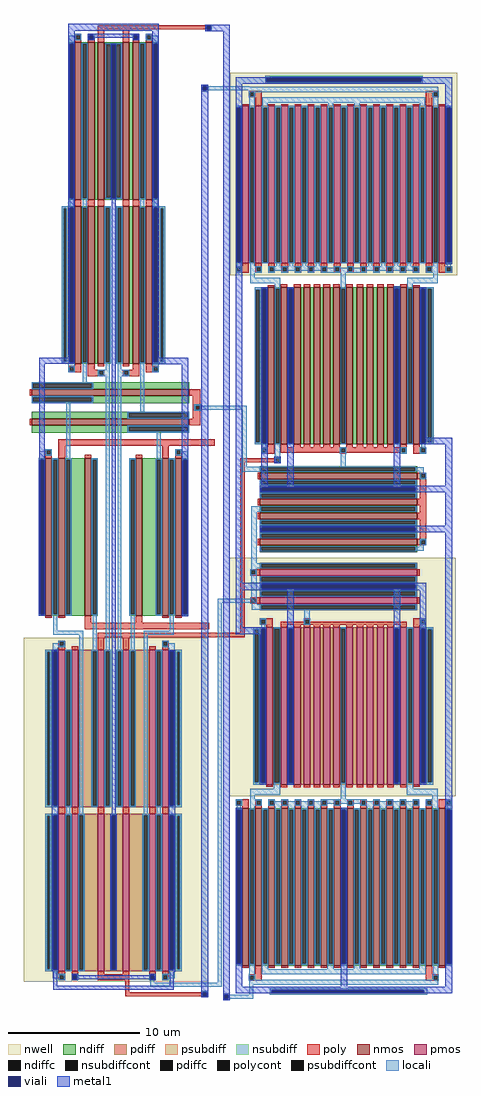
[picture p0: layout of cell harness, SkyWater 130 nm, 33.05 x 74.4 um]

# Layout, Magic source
magic
tech sky130A
<< nwell >>
rect 1745 5485 3105 7030
<< poly >>
rect 1310 7385 1360 7395
rect 1310 7355 1320 7385
rect 1350 7355 1360 7385
rect 1310 7345 1360 7355
rect 1280 6925 1330 6935
rect 1280 6895 1290 6925
rect 1320 6895 1330 6925
rect 1280 6885 1330 6895
rect 1225 4490 1275 4500
rect 1225 4460 1235 4490
rect 1265 4460 1275 4490
rect 1225 4450 1275 4460
rect 1835 4090 1885 4100
rect 1575 4060 1845 4090
rect 1875 4060 1885 4090
rect 1575 2760 1610 4060
rect 1835 4050 1885 4060
rect 490 2725 1610 2760
rect 490 2655 540 2725
rect 680 2655 730 2725
rect 1280 20 1330 30
rect 1160 -10 1290 20
rect 1320 -10 1330 20
rect 1280 -20 1330 -10
rect 1445 0 1495 10
rect 1445 -30 1455 0
rect 1485 -30 1495 0
rect 1445 -40 1495 -30
<< polycont >>
rect 1320 7355 1350 7385
rect 1290 6895 1320 6925
rect 1235 4460 1265 4490
rect 1845 4060 1875 4090
rect 1290 -10 1320 20
rect 1455 -30 1485 0
<< locali >>
rect 1310 7385 1360 7395
rect 1310 7355 1320 7385
rect 1350 7355 1360 7385
rect 1310 7345 1360 7355
rect 1765 6980 1795 7005
rect 1280 6925 1330 6935
rect 1280 6895 1290 6925
rect 1320 6915 1645 6925
rect 1320 6895 1650 6915
rect 1280 6885 1330 6895
rect 1640 6890 1650 6895
rect 1225 4490 1275 4500
rect 1225 4460 1235 4490
rect 1265 4460 1625 4490
rect 1225 4450 1275 4460
rect 1590 4025 1625 4460
rect 1840 4100 1880 4205
rect 1835 4090 1885 4100
rect 1835 4060 1845 4090
rect 1875 4060 1885 4090
rect 1835 4050 1885 4060
rect 1590 3985 1735 4025
rect 1405 2990 1690 3020
rect 1405 90 1435 2990
rect 1665 1525 1670 1570
rect 1155 60 1435 90
rect 1280 20 1330 30
rect 1280 -10 1290 20
rect 1320 -10 1330 20
rect 1280 -20 1330 -10
rect 1445 0 1495 10
rect 1645 0 1675 105
rect 1800 5 1835 10
rect 1445 -30 1455 0
rect 1485 -30 1675 0
rect 1445 -40 1495 -30
<< viali >>
rect 1320 7355 1350 7385
rect 1290 6895 1320 6925
rect 1290 -10 1320 20
rect 1455 -30 1485 0
<< metal1 >>
rect 1310 7385 1495 7395
rect 1310 7355 1320 7385
rect 1350 7355 1495 7385
rect 1310 7345 1495 7355
rect 1280 6925 1330 6935
rect 1280 6895 1290 6925
rect 1320 6895 1330 6925
rect 1280 20 1330 6895
rect 1280 -10 1290 20
rect 1320 -10 1330 20
rect 1280 -20 1330 -10
rect 1445 0 1495 7345
rect 1835 4050 1885 4100
rect 1445 -30 1455 0
rect 1485 -30 1495 0
rect 1445 -40 1495 -30
use bias_generator  bias_generator_0
transform 1 0 4755 0 1 -45
box -3265 45 -1525 7075
use diffamp  diffamp_0
transform 1 0 700 0 -1 1340
box -775 -6060 680 1350
<< end >>

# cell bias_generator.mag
magic
tech sky130A
<< nwell >>
rect -3255 5530 -1525 7075
rect -3265 1560 -1535 3375
<< nmos >>
rect -2970 4240 -2920 5440
rect -2870 4240 -2820 5440
rect -2770 4240 -2720 5440
rect -2695 4240 -2645 5440
rect -2620 4240 -2570 5440
rect -2545 4240 -2495 5440
rect -2470 4240 -2420 5440
rect -2370 4240 -2320 5440
rect -2290 4240 -2240 5440
rect -2215 4240 -2165 5440
rect -2135 4240 -2085 5440
rect -2060 4240 -2010 5440
rect -1960 4240 -1910 5440
rect -1860 4240 -1810 5440
rect -3030 3975 -1830 4025
rect -3030 3775 -1830 3825
rect -3030 3670 -1830 3720
rect -3030 3470 -1830 3520
rect -3165 265 -3115 1465
rect -3065 265 -3015 1465
rect -2965 265 -2915 1465
rect -2865 265 -2815 1465
rect -2765 265 -2715 1465
rect -2665 265 -2615 1465
rect -2565 265 -2515 1465
rect -2465 265 -2415 1465
rect -2365 265 -2315 1465
rect -2265 265 -2215 1465
rect -2165 265 -2115 1465
rect -2065 265 -2015 1465
rect -1965 265 -1915 1465
rect -1865 265 -1815 1465
rect -1765 265 -1715 1465
rect -1665 265 -1615 1465
<< pmos >>
rect -3165 5620 -3115 6820
rect -3065 5620 -3015 6820
rect -2965 5620 -2915 6820
rect -2865 5620 -2815 6820
rect -2765 5620 -2715 6820
rect -2665 5620 -2615 6820
rect -2565 5620 -2515 6820
rect -2465 5620 -2415 6820
rect -2365 5620 -2315 6820
rect -2265 5620 -2215 6820
rect -2165 5620 -2115 6820
rect -2065 5620 -2015 6820
rect -1965 5620 -1915 6820
rect -1865 5620 -1815 6820
rect -1765 5620 -1715 6820
rect -1665 5620 -1615 6820
rect -3030 3240 -1830 3290
rect -3030 3025 -1830 3075
rect -2980 1645 -2930 2845
rect -2870 1645 -2820 2845
rect -2770 1645 -2720 2845
rect -2695 1645 -2645 2845
rect -2620 1645 -2570 2845
rect -2545 1645 -2495 2845
rect -2470 1645 -2420 2845
rect -2370 1645 -2320 2845
rect -2290 1645 -2240 2845
rect -2215 1645 -2165 2845
rect -2135 1645 -2085 2845
rect -2060 1645 -2010 2845
rect -1960 1645 -1910 2845
rect -1860 1645 -1810 2845
<< ndiff >>
rect -3020 5425 -2970 5440
rect -3020 4250 -3010 5425
rect -2980 4250 -2970 5425
rect -3020 4240 -2970 4250
rect -2920 5425 -2870 5440
rect -2920 4250 -2910 5425
rect -2880 4250 -2870 5425
rect -2920 4240 -2870 4250
rect -2820 5425 -2770 5440
rect -2820 4250 -2810 5425
rect -2780 4250 -2770 5425
rect -2820 4240 -2770 4250
rect -2720 4240 -2695 5440
rect -2645 4240 -2620 5440
rect -2570 4240 -2545 5440
rect -2495 4240 -2470 5440
rect -2420 5425 -2370 5440
rect -2420 4250 -2410 5425
rect -2380 4250 -2370 5425
rect -2420 4240 -2370 4250
rect -2320 4240 -2290 5440
rect -2240 4240 -2215 5440
rect -2165 4240 -2135 5440
rect -2085 4240 -2060 5440
rect -2010 5425 -1960 5440
rect -2010 4250 -2000 5425
rect -1970 4250 -1960 5425
rect -2010 4240 -1960 4250
rect -1910 5425 -1860 5440
rect -1910 4250 -1900 5425
rect -1870 4250 -1860 5425
rect -1910 4240 -1860 4250
rect -1810 5425 -1760 5440
rect -1810 4250 -1800 5425
rect -1770 4250 -1760 5425
rect -1810 4240 -1760 4250
rect -3030 4065 -1830 4075
rect -3030 4035 -3020 4065
rect -1845 4035 -1830 4065
rect -3030 4025 -1830 4035
rect -3030 3965 -1830 3975
rect -3030 3935 -3020 3965
rect -1845 3935 -1830 3965
rect -3030 3925 -1830 3935
rect -3030 3865 -1830 3875
rect -3030 3835 -3020 3865
rect -1845 3835 -1830 3865
rect -3030 3825 -1830 3835
rect -3030 3765 -1830 3775
rect -3030 3730 -3020 3765
rect -1845 3730 -1830 3765
rect -3030 3720 -1830 3730
rect -3030 3660 -1830 3670
rect -3030 3630 -3020 3660
rect -1845 3630 -1830 3660
rect -3030 3620 -1830 3630
rect -3030 3560 -1830 3570
rect -3030 3530 -3020 3560
rect -1845 3530 -1830 3560
rect -3030 3520 -1830 3530
rect -3030 3460 -1830 3470
rect -3030 3430 -3020 3460
rect -1845 3430 -1830 3460
rect -3030 3420 -1830 3430
rect -3215 1455 -3165 1465
rect -3215 280 -3205 1455
rect -3175 280 -3165 1455
rect -3215 265 -3165 280
rect -3115 1455 -3065 1465
rect -3115 280 -3105 1455
rect -3075 280 -3065 1455
rect -3115 265 -3065 280
rect -3015 1455 -2965 1465
rect -3015 280 -3005 1455
rect -2975 280 -2965 1455
rect -3015 265 -2965 280
rect -2915 1455 -2865 1465
rect -2915 280 -2905 1455
rect -2875 280 -2865 1455
rect -2915 265 -2865 280
rect -2815 1455 -2765 1465
rect -2815 280 -2805 1455
rect -2775 280 -2765 1455
rect -2815 265 -2765 280
rect -2715 1455 -2665 1465
rect -2715 280 -2705 1455
rect -2675 280 -2665 1455
rect -2715 265 -2665 280
rect -2615 1455 -2565 1465
rect -2615 280 -2605 1455
rect -2575 280 -2565 1455
rect -2615 265 -2565 280
rect -2515 1455 -2465 1465
rect -2515 280 -2505 1455
rect -2475 280 -2465 1455
rect -2515 265 -2465 280
rect -2415 1455 -2365 1465
rect -2415 280 -2405 1455
rect -2375 280 -2365 1455
rect -2415 265 -2365 280
rect -2315 1455 -2265 1465
rect -2315 280 -2305 1455
rect -2275 280 -2265 1455
rect -2315 265 -2265 280
rect -2215 1455 -2165 1465
rect -2215 280 -2205 1455
rect -2175 280 -2165 1455
rect -2215 265 -2165 280
rect -2115 1455 -2065 1465
rect -2115 280 -2105 1455
rect -2075 280 -2065 1455
rect -2115 265 -2065 280
rect -2015 1455 -1965 1465
rect -2015 280 -2005 1455
rect -1975 280 -1965 1455
rect -2015 265 -1965 280
rect -1915 1455 -1865 1465
rect -1915 280 -1905 1455
rect -1875 280 -1865 1455
rect -1915 265 -1865 280
rect -1815 1455 -1765 1465
rect -1815 280 -1805 1455
rect -1775 280 -1765 1455
rect -1815 265 -1765 280
rect -1715 1455 -1665 1465
rect -1715 280 -1705 1455
rect -1675 280 -1665 1455
rect -1715 265 -1665 280
rect -1615 1455 -1565 1465
rect -1615 280 -1605 1455
rect -1575 280 -1565 1455
rect -1615 265 -1565 280
<< pdiff >>
rect -3215 6805 -3165 6820
rect -3215 5630 -3205 6805
rect -3175 5630 -3165 6805
rect -3215 5620 -3165 5630
rect -3115 6805 -3065 6820
rect -3115 5630 -3105 6805
rect -3075 5630 -3065 6805
rect -3115 5620 -3065 5630
rect -3015 6805 -2965 6820
rect -3015 5630 -3005 6805
rect -2975 5630 -2965 6805
rect -3015 5620 -2965 5630
rect -2915 6805 -2865 6820
rect -2915 5630 -2905 6805
rect -2875 5630 -2865 6805
rect -2915 5620 -2865 5630
rect -2815 6805 -2765 6820
rect -2815 5630 -2805 6805
rect -2775 5630 -2765 6805
rect -2815 5620 -2765 5630
rect -2715 6805 -2665 6820
rect -2715 5630 -2705 6805
rect -2675 5630 -2665 6805
rect -2715 5620 -2665 5630
rect -2615 6805 -2565 6820
rect -2615 5630 -2605 6805
rect -2575 5630 -2565 6805
rect -2615 5620 -2565 5630
rect -2515 6805 -2465 6820
rect -2515 5630 -2505 6805
rect -2475 5630 -2465 6805
rect -2515 5620 -2465 5630
rect -2415 6805 -2365 6820
rect -2415 5630 -2405 6805
rect -2375 5630 -2365 6805
rect -2415 5620 -2365 5630
rect -2315 6805 -2265 6820
rect -2315 5630 -2305 6805
rect -2275 5630 -2265 6805
rect -2315 5620 -2265 5630
rect -2215 6805 -2165 6820
rect -2215 5630 -2205 6805
rect -2175 5630 -2165 6805
rect -2215 5620 -2165 5630
rect -2115 6805 -2065 6820
rect -2115 5630 -2105 6805
rect -2075 5630 -2065 6805
rect -2115 5620 -2065 5630
rect -2015 6805 -1965 6820
rect -2015 5630 -2005 6805
rect -1975 5630 -1965 6805
rect -2015 5620 -1965 5630
rect -1915 6805 -1865 6820
rect -1915 5630 -1905 6805
rect -1875 5630 -1865 6805
rect -1915 5620 -1865 5630
rect -1815 6805 -1765 6820
rect -1815 5630 -1805 6805
rect -1775 5630 -1765 6805
rect -1815 5620 -1765 5630
rect -1715 6805 -1665 6820
rect -1715 5630 -1705 6805
rect -1675 5630 -1665 6805
rect -1715 5620 -1665 5630
rect -1615 6805 -1565 6820
rect -1615 5630 -1605 6805
rect -1575 5630 -1565 6805
rect -1615 5620 -1565 5630
rect -3030 3330 -1830 3340
rect -3030 3300 -3020 3330
rect -1845 3300 -1830 3330
rect -3030 3290 -1830 3300
rect -3030 3230 -1830 3240
rect -3030 3195 -3020 3230
rect -1845 3195 -1830 3230
rect -3030 3185 -1830 3195
rect -3030 3120 -1830 3130
rect -3030 3085 -3020 3120
rect -1845 3085 -1830 3120
rect -3030 3075 -1830 3085
rect -3030 3015 -1830 3025
rect -3030 2985 -3020 3015
rect -1845 2985 -1830 3015
rect -3030 2975 -1830 2985
rect -3030 2835 -2980 2845
rect -3030 1660 -3020 2835
rect -2990 1660 -2980 2835
rect -3030 1645 -2980 1660
rect -2930 2835 -2870 2845
rect -2930 1660 -2920 2835
rect -2880 1660 -2870 2835
rect -2930 1645 -2870 1660
rect -2820 2835 -2770 2845
rect -2820 1660 -2810 2835
rect -2780 1660 -2770 2835
rect -2820 1645 -2770 1660
rect -2720 1645 -2695 2845
rect -2645 1645 -2620 2845
rect -2570 1645 -2545 2845
rect -2495 1645 -2470 2845
rect -2420 2835 -2370 2845
rect -2420 1660 -2410 2835
rect -2380 1660 -2370 2835
rect -2420 1645 -2370 1660
rect -2320 1645 -2290 2845
rect -2240 1645 -2215 2845
rect -2165 1645 -2135 2845
rect -2085 1645 -2060 2845
rect -2010 2835 -1960 2845
rect -2010 1660 -2000 2835
rect -1970 1660 -1960 2835
rect -2010 1645 -1960 1660
rect -1910 2835 -1860 2845
rect -1910 1660 -1900 2835
rect -1870 1660 -1860 2835
rect -1910 1645 -1860 1660
rect -1810 2835 -1760 2845
rect -1810 1660 -1800 2835
rect -1770 1660 -1760 2835
rect -1810 1645 -1760 1660
<< ndiffc >>
rect -3010 4250 -2980 5425
rect -2910 4250 -2880 5425
rect -2810 4250 -2780 5425
rect -2410 4250 -2380 5425
rect -2000 4250 -1970 5425
rect -1900 4250 -1870 5425
rect -1800 4250 -1770 5425
rect -3020 4035 -1845 4065
rect -3020 3935 -1845 3965
rect -3020 3835 -1845 3865
rect -3020 3730 -1845 3765
rect -3020 3630 -1845 3660
rect -3020 3530 -1845 3560
rect -3020 3430 -1845 3460
rect -3205 280 -3175 1455
rect -3105 280 -3075 1455
rect -3005 280 -2975 1455
rect -2905 280 -2875 1455
rect -2805 280 -2775 1455
rect -2705 280 -2675 1455
rect -2605 280 -2575 1455
rect -2505 280 -2475 1455
rect -2405 280 -2375 1455
rect -2305 280 -2275 1455
rect -2205 280 -2175 1455
rect -2105 280 -2075 1455
rect -2005 280 -1975 1455
rect -1905 280 -1875 1455
rect -1805 280 -1775 1455
rect -1705 280 -1675 1455
rect -1605 280 -1575 1455
<< pdiffc >>
rect -3205 5630 -3175 6805
rect -3105 5630 -3075 6805
rect -3005 5630 -2975 6805
rect -2905 5630 -2875 6805
rect -2805 5630 -2775 6805
rect -2705 5630 -2675 6805
rect -2605 5630 -2575 6805
rect -2505 5630 -2475 6805
rect -2405 5630 -2375 6805
rect -2305 5630 -2275 6805
rect -2205 5630 -2175 6805
rect -2105 5630 -2075 6805
rect -2005 5630 -1975 6805
rect -1905 5630 -1875 6805
rect -1805 5630 -1775 6805
rect -1705 5630 -1675 6805
rect -1605 5630 -1575 6805
rect -3020 3300 -1845 3330
rect -3020 3195 -1845 3230
rect -3020 3085 -1845 3120
rect -3020 2985 -1845 3015
rect -3020 1660 -2990 2835
rect -2920 1660 -2880 2835
rect -2810 1660 -2780 2835
rect -2410 1660 -2380 2835
rect -2000 1660 -1970 2835
rect -1900 1660 -1870 2835
rect -1800 1660 -1770 2835
<< psubdiff >>
rect -3070 5420 -3020 5440
rect -3070 4255 -3060 5420
rect -3030 4255 -3020 5420
rect -3070 4240 -3020 4255
rect -1760 5425 -1710 5440
rect -1760 4255 -1750 5425
rect -1720 4255 -1710 5425
rect -1760 4240 -1710 4255
rect -3030 3915 -1830 3925
rect -3030 3885 -3020 3915
rect -1845 3885 -1830 3915
rect -3030 3875 -1830 3885
rect -3030 3610 -1830 3620
rect -3030 3580 -3020 3610
rect -1845 3580 -1830 3610
rect -3030 3570 -1830 3580
rect -2955 80 -1755 95
rect -2955 60 -2940 80
rect -1780 60 -1755 80
rect -2955 45 -1755 60
<< nsubdiff >>
rect -2990 7035 -1790 7050
rect -2990 7005 -2980 7035
rect -1800 7005 -1790 7035
rect -2990 6990 -1790 7005
rect -3030 3175 -1830 3185
rect -3030 3140 -3020 3175
rect -1845 3140 -1830 3175
rect -3030 3130 -1830 3140
rect -3080 2830 -3030 2845
rect -3080 1665 -3070 2830
rect -3040 1665 -3030 2830
rect -3080 1645 -3030 1665
rect -1760 2830 -1710 2845
rect -1760 1665 -1750 2830
rect -1720 1665 -1710 2830
rect -1760 1645 -1710 1665
<< psubdiffcont >>
rect -3060 4255 -3030 5420
rect -1750 4255 -1720 5425
rect -3020 3885 -1845 3915
rect -3020 3580 -1845 3610
rect -2940 60 -1780 80
<< nsubdiffcont >>
rect -2980 7005 -1800 7035
rect -3020 3140 -1845 3175
rect -3070 1665 -3040 2830
rect -1750 1665 -1720 2830
<< poly >>
rect -3115 6925 -3015 6935
rect -3115 6895 -3105 6925
rect -3075 6895 -3015 6925
rect -3115 6885 -3015 6895
rect -3165 6820 -3115 6835
rect -3065 6820 -3015 6885
rect -1765 6925 -1665 6935
rect -1765 6895 -1705 6925
rect -1675 6895 -1665 6925
rect -1765 6885 -1665 6895
rect -2965 6820 -2915 6835
rect -2865 6820 -2815 6835
rect -2765 6820 -2715 6835
rect -2665 6820 -2615 6835
rect -2565 6820 -2515 6835
rect -2465 6820 -2415 6835
rect -2365 6820 -2315 6835
rect -2265 6820 -2215 6835
rect -2165 6820 -2115 6835
rect -2065 6820 -2015 6835
rect -1965 6820 -1915 6835
rect -1865 6820 -1815 6835
rect -1765 6820 -1715 6885
rect -1665 6820 -1615 6835
rect -3165 5600 -3115 5620
rect -3215 5590 -3115 5600
rect -3215 5560 -3205 5590
rect -3175 5560 -3115 5590
rect -3215 5550 -3115 5560
rect -3065 5590 -3015 5620
rect -3065 5560 -3055 5590
rect -3025 5560 -3015 5590
rect -3065 5550 -3015 5560
rect -2965 5590 -2915 5620
rect -2965 5560 -2955 5590
rect -2925 5560 -2915 5590
rect -2965 5550 -2915 5560
rect -2865 5590 -2815 5620
rect -2865 5560 -2855 5590
rect -2825 5560 -2815 5590
rect -2865 5550 -2815 5560
rect -2765 5590 -2715 5620
rect -2765 5560 -2755 5590
rect -2725 5560 -2715 5590
rect -2765 5550 -2715 5560
rect -2665 5590 -2615 5620
rect -2665 5560 -2655 5590
rect -2625 5560 -2615 5590
rect -2665 5550 -2615 5560
rect -2565 5590 -2515 5620
rect -2565 5560 -2555 5590
rect -2525 5560 -2515 5590
rect -2565 5550 -2515 5560
rect -2465 5590 -2415 5620
rect -2465 5560 -2455 5590
rect -2425 5560 -2415 5590
rect -2465 5550 -2415 5560
rect -2365 5590 -2315 5620
rect -2365 5560 -2355 5590
rect -2325 5560 -2315 5590
rect -2365 5550 -2315 5560
rect -2265 5590 -2215 5620
rect -2265 5560 -2255 5590
rect -2225 5560 -2215 5590
rect -2265 5550 -2215 5560
rect -2165 5590 -2115 5620
rect -2165 5560 -2155 5590
rect -2125 5560 -2115 5590
rect -2165 5550 -2115 5560
rect -2065 5590 -2015 5620
rect -2065 5560 -2055 5590
rect -2025 5560 -2015 5590
rect -2065 5550 -2015 5560
rect -1965 5590 -1915 5620
rect -1965 5560 -1955 5590
rect -1925 5560 -1915 5590
rect -1965 5550 -1915 5560
rect -1865 5590 -1815 5620
rect -1865 5560 -1855 5590
rect -1825 5560 -1815 5590
rect -1865 5550 -1815 5560
rect -1765 5590 -1715 5620
rect -1765 5560 -1755 5590
rect -1725 5560 -1715 5590
rect -1765 5550 -1715 5560
rect -1665 5600 -1615 5620
rect -1665 5590 -1565 5600
rect -1665 5560 -1605 5590
rect -1575 5560 -1565 5590
rect -1665 5550 -1565 5560
rect -2970 5440 -2920 5455
rect -2870 5440 -2820 5460
rect -2770 5440 -2720 5460
rect -2695 5440 -2645 5460
rect -2620 5440 -2570 5460
rect -2545 5440 -2495 5460
rect -2470 5440 -2420 5460
rect -2370 5440 -2320 5460
rect -2290 5440 -2240 5460
rect -2215 5440 -2165 5460
rect -2135 5440 -2085 5460
rect -2060 5440 -2010 5460
rect -1960 5440 -1910 5460
rect -1860 5440 -1810 5455
rect -2970 4220 -2920 4240
rect -3020 4210 -2920 4220
rect -3020 4180 -3010 4210
rect -2980 4180 -2920 4210
rect -3020 4170 -2920 4180
rect -2870 4220 -2820 4240
rect -2770 4220 -2720 4240
rect -2695 4220 -2645 4240
rect -2620 4220 -2570 4240
rect -2545 4220 -2495 4240
rect -2470 4220 -2420 4240
rect -2370 4220 -2320 4240
rect -2290 4220 -2240 4240
rect -2215 4220 -2165 4240
rect -2135 4220 -2085 4240
rect -2060 4220 -2010 4240
rect -1960 4220 -1910 4240
rect -2870 4210 -1910 4220
rect -2870 4180 -2410 4210
rect -2380 4180 -1950 4210
rect -1920 4180 -1910 4210
rect -2870 4175 -1910 4180
rect -2420 4170 -2370 4175
rect -1960 4170 -1910 4175
rect -1860 4220 -1810 4240
rect -1860 4210 -1760 4220
rect -1860 4180 -1800 4210
rect -1770 4180 -1760 4210
rect -1860 4170 -1760 4180
rect -3045 3975 -3030 4025
rect -1830 4015 -1760 4025
rect -1830 3985 -1800 4015
rect -1770 3985 -1760 4015
rect -1830 3975 -1760 3985
rect -1810 3825 -1760 3975
rect -3045 3775 -3030 3825
rect -1830 3775 -1760 3825
rect -1810 3720 -1760 3775
rect -3045 3670 -3030 3720
rect -1830 3670 -1760 3720
rect -1810 3520 -1760 3670
rect -3045 3470 -3030 3520
rect -1830 3510 -1760 3520
rect -1830 3480 -1800 3510
rect -1770 3480 -1760 3510
rect -1830 3470 -1760 3480
rect -3105 3280 -3030 3290
rect -3105 3250 -3095 3280
rect -3065 3250 -3030 3280
rect -3105 3240 -3030 3250
rect -1830 3240 -1810 3290
rect -3105 3065 -3030 3075
rect -3105 3035 -3095 3065
rect -3065 3035 -3030 3065
rect -3105 3025 -3030 3035
rect -1830 3025 -1810 3075
rect -3030 2905 -2930 2915
rect -3030 2875 -3020 2905
rect -2990 2875 -2930 2905
rect -2695 2905 -2645 2915
rect -2695 2890 -2685 2905
rect -3030 2865 -2930 2875
rect -2980 2845 -2930 2865
rect -2870 2875 -2685 2890
rect -2655 2890 -2645 2905
rect -1860 2905 -1760 2915
rect -2655 2875 -1910 2890
rect -2870 2865 -1910 2875
rect -2870 2845 -2820 2865
rect -2770 2845 -2720 2865
rect -2695 2845 -2645 2865
rect -2620 2845 -2570 2865
rect -2545 2845 -2495 2865
rect -2470 2845 -2420 2865
rect -2370 2845 -2320 2865
rect -2290 2845 -2240 2865
rect -2215 2845 -2165 2865
rect -2135 2845 -2085 2865
rect -2060 2845 -2010 2865
rect -1960 2845 -1910 2865
rect -1860 2875 -1800 2905
rect -1770 2875 -1760 2905
rect -1860 2865 -1760 2875
rect -1860 2845 -1810 2865
rect -2980 1630 -2930 1645
rect -2870 1625 -2820 1645
rect -2770 1625 -2720 1645
rect -2695 1625 -2645 1645
rect -2620 1625 -2570 1645
rect -2545 1625 -2495 1645
rect -2470 1625 -2420 1645
rect -2370 1625 -2320 1645
rect -2290 1625 -2240 1645
rect -2215 1625 -2165 1645
rect -2135 1625 -2085 1645
rect -2060 1625 -2010 1645
rect -1960 1625 -1910 1645
rect -1860 1630 -1810 1645
rect -3215 1525 -3115 1535
rect -3215 1495 -3205 1525
rect -3175 1495 -3115 1525
rect -3215 1485 -3115 1495
rect -3165 1465 -3115 1485
rect -3065 1525 -3015 1535
rect -3065 1495 -3055 1525
rect -3025 1495 -3015 1525
rect -3065 1465 -3015 1495
rect -2965 1525 -2915 1535
rect -2965 1495 -2955 1525
rect -2925 1495 -2915 1525
rect -2965 1465 -2915 1495
rect -2865 1525 -2815 1535
rect -2865 1495 -2855 1525
rect -2825 1495 -2815 1525
rect -2865 1465 -2815 1495
rect -2765 1525 -2715 1535
rect -2765 1495 -2755 1525
rect -2725 1495 -2715 1525
rect -2765 1465 -2715 1495
rect -2665 1525 -2615 1535
rect -2665 1495 -2655 1525
rect -2625 1495 -2615 1525
rect -2665 1465 -2615 1495
rect -2565 1525 -2515 1535
rect -2565 1495 -2555 1525
rect -2525 1495 -2515 1525
rect -2565 1465 -2515 1495
rect -2465 1525 -2415 1535
rect -2465 1495 -2455 1525
rect -2425 1495 -2415 1525
rect -2465 1465 -2415 1495
rect -2365 1525 -2315 1535
rect -2365 1495 -2355 1525
rect -2325 1495 -2315 1525
rect -2365 1465 -2315 1495
rect -2265 1525 -2215 1535
rect -2265 1495 -2255 1525
rect -2225 1495 -2215 1525
rect -2265 1465 -2215 1495
rect -2165 1525 -2115 1535
rect -2165 1495 -2155 1525
rect -2125 1495 -2115 1525
rect -2165 1465 -2115 1495
rect -2065 1525 -2015 1535
rect -2065 1495 -2055 1525
rect -2025 1495 -2015 1525
rect -2065 1465 -2015 1495
rect -1965 1525 -1915 1535
rect -1965 1495 -1955 1525
rect -1925 1495 -1915 1525
rect -1965 1465 -1915 1495
rect -1865 1525 -1815 1535
rect -1865 1495 -1855 1525
rect -1825 1495 -1815 1525
rect -1865 1465 -1815 1495
rect -1765 1525 -1715 1535
rect -1765 1495 -1755 1525
rect -1725 1495 -1715 1525
rect -1765 1465 -1715 1495
rect -1665 1525 -1565 1535
rect -1665 1495 -1605 1525
rect -1575 1495 -1565 1525
rect -1665 1485 -1565 1495
rect -1665 1465 -1615 1485
rect -3165 250 -3115 265
rect -3065 200 -3015 265
rect -2965 250 -2915 265
rect -2865 250 -2815 265
rect -2765 250 -2715 265
rect -2665 250 -2615 265
rect -2565 250 -2515 265
rect -2465 250 -2415 265
rect -2365 250 -2315 265
rect -2265 250 -2215 265
rect -2165 250 -2115 265
rect -2065 250 -2015 265
rect -1965 250 -1915 265
rect -1865 250 -1815 265
rect -3115 190 -3015 200
rect -3115 160 -3105 190
rect -3075 160 -3015 190
rect -3115 150 -3015 160
rect -1765 200 -1715 265
rect -1665 250 -1615 265
rect -1765 190 -1665 200
rect -1765 160 -1705 190
rect -1675 160 -1665 190
rect -1765 150 -1665 160
<< polycont >>
rect -3105 6895 -3075 6925
rect -1705 6895 -1675 6925
rect -3205 5560 -3175 5590
rect -3055 5560 -3025 5590
rect -2955 5560 -2925 5590
rect -2855 5560 -2825 5590
rect -2755 5560 -2725 5590
rect -2655 5560 -2625 5590
rect -2555 5560 -2525 5590
rect -2455 5560 -2425 5590
rect -2355 5560 -2325 5590
rect -2255 5560 -2225 5590
rect -2155 5560 -2125 5590
rect -2055 5560 -2025 5590
rect -1955 5560 -1925 5590
rect -1855 5560 -1825 5590
rect -1755 5560 -1725 5590
rect -1605 5560 -1575 5590
rect -3010 4180 -2980 4210
rect -2410 4180 -2380 4210
rect -1950 4180 -1920 4210
rect -1800 4180 -1770 4210
rect -1800 3985 -1770 4015
rect -1800 3480 -1770 3510
rect -3095 3250 -3065 3280
rect -3095 3035 -3065 3065
rect -3020 2875 -2990 2905
rect -2685 2875 -2655 2905
rect -1800 2875 -1770 2905
rect -3205 1495 -3175 1525
rect -3055 1495 -3025 1525
rect -2955 1495 -2925 1525
rect -2855 1495 -2825 1525
rect -2755 1495 -2725 1525
rect -2655 1495 -2625 1525
rect -2555 1495 -2525 1525
rect -2455 1495 -2425 1525
rect -2355 1495 -2325 1525
rect -2255 1495 -2225 1525
rect -2155 1495 -2125 1525
rect -2055 1495 -2025 1525
rect -1955 1495 -1925 1525
rect -1855 1495 -1825 1525
rect -1755 1495 -1725 1525
rect -1605 1495 -1575 1525
rect -3105 160 -3075 190
rect -1705 160 -1675 190
<< locali >>
rect -2990 7035 -1790 7045
rect -2990 7005 -2980 7035
rect -1800 7005 -1790 7035
rect -2990 6995 -1790 7005
rect -3110 6935 -1670 6965
rect -3115 6925 -1665 6935
rect -3115 6895 -3105 6925
rect -3075 6895 -3065 6925
rect -3115 6885 -3065 6895
rect -1715 6895 -1705 6925
rect -1675 6895 -1665 6925
rect -1715 6885 -1665 6895
rect -3210 6805 -3170 6820
rect -3210 5630 -3205 6805
rect -3175 5630 -3170 6805
rect -3210 5620 -3170 5630
rect -3110 6805 -3070 6885
rect -3010 6845 -1770 6885
rect -3010 6820 -2970 6845
rect -2510 6820 -2470 6845
rect -2310 6820 -2270 6845
rect -1810 6820 -1770 6845
rect -3110 5630 -3105 6805
rect -3075 5630 -3070 6805
rect -3110 5625 -3070 5630
rect -3205 5600 -3175 5620
rect -3105 5600 -3070 5625
rect -3015 6805 -2965 6820
rect -3015 5630 -3005 6805
rect -2975 5630 -2965 6805
rect -3015 5620 -2965 5630
rect -2915 6805 -2865 6820
rect -2915 5630 -2905 6805
rect -2875 5630 -2865 6805
rect -2915 5620 -2865 5630
rect -2815 6805 -2765 6820
rect -2815 5630 -2805 6805
rect -2775 5630 -2765 6805
rect -2815 5620 -2765 5630
rect -2715 6805 -2665 6820
rect -2715 5630 -2705 6805
rect -2675 5630 -2665 6805
rect -2715 5620 -2665 5630
rect -2615 6805 -2565 6820
rect -2615 5630 -2605 6805
rect -2575 5630 -2565 6805
rect -2615 5620 -2565 5630
rect -2515 6805 -2465 6820
rect -2515 5630 -2505 6805
rect -2475 5630 -2465 6805
rect -2515 5620 -2465 5630
rect -2415 6805 -2365 6820
rect -2415 5630 -2405 6805
rect -2375 5630 -2365 6805
rect -2415 5620 -2365 5630
rect -2315 6805 -2265 6820
rect -2315 5630 -2305 6805
rect -2275 5630 -2265 6805
rect -2315 5620 -2265 5630
rect -2215 6805 -2165 6820
rect -2215 5630 -2205 6805
rect -2175 5630 -2165 6805
rect -2215 5620 -2165 5630
rect -2115 6805 -2065 6820
rect -2115 5630 -2105 6805
rect -2075 5630 -2065 6805
rect -2115 5620 -2065 5630
rect -2015 6805 -1965 6820
rect -2015 5630 -2005 6805
rect -1975 5630 -1965 6805
rect -2015 5620 -1965 5630
rect -1915 6805 -1865 6820
rect -1915 5630 -1905 6805
rect -1875 5630 -1865 6805
rect -1915 5620 -1865 5630
rect -1815 6805 -1765 6820
rect -1815 5630 -1805 6805
rect -1775 5630 -1765 6805
rect -1815 5620 -1765 5630
rect -1710 6805 -1670 6885
rect -1710 5630 -1705 6805
rect -1675 5630 -1670 6805
rect -1710 5625 -1670 5630
rect -1610 6805 -1570 6820
rect -1610 5630 -1605 6805
rect -1575 5630 -1570 6805
rect -2905 5600 -2875 5620
rect -2805 5600 -2775 5620
rect -2705 5600 -2675 5620
rect -2605 5600 -2575 5620
rect -2205 5600 -2175 5620
rect -2105 5600 -2075 5620
rect -2005 5600 -1975 5620
rect -1905 5600 -1875 5620
rect -1710 5600 -1675 5625
rect -1610 5620 -1570 5630
rect -1605 5600 -1575 5620
rect -3215 5590 -3165 5600
rect -3215 5560 -3205 5590
rect -3175 5560 -3165 5590
rect -3215 5550 -3165 5560
rect -3105 5590 -3015 5600
rect -3105 5560 -3055 5590
rect -3025 5560 -3015 5590
rect -3105 5550 -3015 5560
rect -2965 5590 -2515 5600
rect -2965 5560 -2955 5590
rect -2925 5565 -2855 5590
rect -2925 5560 -2915 5565
rect -2965 5550 -2915 5560
rect -2865 5560 -2855 5565
rect -2825 5565 -2755 5590
rect -2825 5560 -2815 5565
rect -2865 5550 -2815 5560
rect -2765 5560 -2755 5565
rect -2725 5565 -2655 5590
rect -2725 5560 -2715 5565
rect -2765 5550 -2715 5560
rect -2665 5560 -2655 5565
rect -2625 5565 -2555 5590
rect -2625 5560 -2615 5565
rect -2665 5550 -2615 5560
rect -2565 5560 -2555 5565
rect -2525 5585 -2515 5590
rect -2465 5590 -2415 5600
rect -2465 5585 -2455 5590
rect -2525 5560 -2455 5585
rect -2425 5585 -2415 5590
rect -2365 5590 -2315 5600
rect -2365 5585 -2355 5590
rect -2425 5560 -2355 5585
rect -2325 5585 -2315 5590
rect -2265 5590 -1815 5600
rect -2265 5585 -2255 5590
rect -2325 5560 -2255 5585
rect -2225 5565 -2155 5590
rect -2225 5560 -2215 5565
rect -2565 5550 -2215 5560
rect -2165 5560 -2155 5565
rect -2125 5565 -2055 5590
rect -2125 5560 -2115 5565
rect -2165 5550 -2115 5560
rect -2065 5560 -2055 5565
rect -2025 5565 -1955 5590
rect -2025 5560 -2015 5565
rect -2065 5550 -2015 5560
rect -1965 5560 -1955 5565
rect -1925 5565 -1855 5590
rect -1925 5560 -1915 5565
rect -1965 5550 -1915 5560
rect -1865 5560 -1855 5565
rect -1825 5560 -1815 5590
rect -1865 5550 -1815 5560
rect -1765 5590 -1675 5600
rect -1765 5560 -1755 5590
rect -1725 5560 -1675 5590
rect -1765 5550 -1675 5560
rect -1615 5590 -1565 5600
rect -1615 5560 -1605 5590
rect -1575 5560 -1565 5590
rect -1615 5550 -1565 5560
rect -3105 5510 -3070 5550
rect -3105 5470 -2875 5510
rect -3070 5425 -2975 5440
rect -3070 5420 -3010 5425
rect -3070 4255 -3060 5420
rect -3030 4255 -3010 5420
rect -3070 4250 -3010 4255
rect -2980 4250 -2975 5425
rect -3070 4240 -2975 4250
rect -2915 5425 -2875 5470
rect -2915 4250 -2910 5425
rect -2880 4250 -2875 5425
rect -2915 4240 -2875 4250
rect -2815 5425 -2775 5435
rect -2815 4250 -2810 5425
rect -2780 4250 -2775 5425
rect -2815 4240 -2775 4250
rect -2415 5425 -2375 5550
rect -1710 5510 -1675 5550
rect -1905 5470 -1675 5510
rect -2415 4250 -2410 5425
rect -2380 4250 -2375 5425
rect -2415 4240 -2375 4250
rect -2005 5425 -1965 5435
rect -2005 4250 -2000 5425
rect -1970 4250 -1965 5425
rect -2005 4240 -1965 4250
rect -1905 5425 -1865 5470
rect -1905 4250 -1900 5425
rect -1870 4250 -1865 5425
rect -1905 4240 -1865 4250
rect -1805 5425 -1705 5440
rect -1805 4250 -1800 5425
rect -1770 4255 -1750 5425
rect -1720 4255 -1705 5425
rect -1770 4250 -1705 4255
rect -1805 4240 -1705 4250
rect -3010 4220 -2980 4240
rect -1800 4220 -1770 4240
rect -3020 4210 -2970 4220
rect -3020 4180 -3010 4210
rect -2980 4180 -2970 4210
rect -3020 4170 -2970 4180
rect -2420 4210 -2370 4220
rect -2420 4180 -2410 4210
rect -2380 4180 -2370 4210
rect -2420 4170 -2370 4180
rect -1960 4210 -1910 4220
rect -1960 4180 -1950 4210
rect -1920 4180 -1910 4210
rect -1960 4170 -1910 4180
rect -1810 4210 -1760 4220
rect -1810 4180 -1800 4210
rect -1770 4180 -1760 4210
rect -1810 4170 -1760 4180
rect -2415 4070 -2375 4170
rect -3030 4065 -1840 4070
rect -3030 4035 -3020 4065
rect -1845 4035 -1780 4065
rect -3030 4030 -1840 4035
rect -1810 4025 -1780 4035
rect -1810 4015 -1760 4025
rect -1810 3985 -1800 4015
rect -1770 3985 -1760 4015
rect -1810 3975 -1760 3985
rect -3030 3965 -1835 3970
rect -3030 3935 -3020 3965
rect -1845 3935 -1835 3965
rect -3030 3915 -1835 3935
rect -3030 3885 -3020 3915
rect -1845 3885 -1835 3915
rect -3030 3865 -1835 3885
rect -3030 3835 -3020 3865
rect -1845 3835 -1835 3865
rect -3030 3830 -1835 3835
rect -3095 3765 -1835 3770
rect -3095 3730 -3020 3765
rect -1845 3730 -1835 3765
rect -3095 3725 -1835 3730
rect -3095 3335 -3055 3725
rect -3030 3660 -1835 3665
rect -3030 3630 -3020 3660
rect -1845 3630 -1835 3660
rect -3030 3610 -1835 3630
rect -3030 3580 -3020 3610
rect -1845 3580 -1835 3610
rect -3030 3560 -1835 3580
rect -3030 3530 -3020 3560
rect -1845 3530 -1835 3560
rect -3030 3525 -1835 3530
rect -1810 3510 -1760 3520
rect -1810 3480 -1800 3510
rect -1770 3480 -1760 3510
rect -1810 3470 -1760 3480
rect -3030 3460 -1840 3465
rect -1810 3460 -1780 3470
rect -3030 3430 -3020 3460
rect -1845 3430 -1780 3460
rect -3030 3425 -1840 3430
rect -3095 3330 -1835 3335
rect -3095 3300 -3020 3330
rect -1845 3300 -1835 3330
rect -3095 3295 -1835 3300
rect -3095 3290 -3055 3295
rect -3105 3280 -3055 3290
rect -3105 3250 -3095 3280
rect -3065 3250 -3055 3280
rect -3105 3240 -3055 3250
rect -3095 3075 -3055 3240
rect -3030 3230 -1835 3235
rect -3030 3195 -3020 3230
rect -1845 3195 -1835 3230
rect -3030 3175 -1835 3195
rect -3030 3140 -3020 3175
rect -1845 3140 -1835 3175
rect -3030 3120 -1835 3140
rect -3030 3085 -3020 3120
rect -1845 3085 -1835 3120
rect -3030 3080 -1835 3085
rect -3105 3065 -3055 3075
rect -3105 3035 -3095 3065
rect -3065 3035 -3055 3065
rect -3105 3025 -3055 3035
rect -3090 3020 -3055 3025
rect -3090 3015 -1835 3020
rect -3090 2985 -3020 3015
rect -1845 2985 -1835 3015
rect -3090 2980 -1835 2985
rect -2690 2915 -2650 2980
rect -3030 2905 -2980 2915
rect -3030 2875 -3020 2905
rect -2990 2875 -2980 2905
rect -3030 2865 -2980 2875
rect -2695 2905 -2645 2915
rect -2695 2875 -2685 2905
rect -2655 2875 -2645 2905
rect -2695 2865 -2645 2875
rect -1810 2905 -1760 2915
rect -1810 2875 -1800 2905
rect -1770 2875 -1760 2905
rect -1810 2865 -1760 2875
rect -3020 2845 -2990 2865
rect -1800 2845 -1770 2865
rect -3080 2835 -2985 2845
rect -3080 2830 -3020 2835
rect -3080 1665 -3070 2830
rect -3040 1665 -3020 2830
rect -3080 1660 -3020 1665
rect -2990 1660 -2985 2835
rect -3080 1645 -2985 1660
rect -2925 2835 -2875 2845
rect -2925 1660 -2920 2835
rect -2880 1660 -2875 2835
rect -2925 1615 -2875 1660
rect -2815 2835 -2775 2845
rect -2815 1660 -2810 2835
rect -2780 1660 -2775 2835
rect -2815 1650 -2775 1660
rect -2415 2835 -2375 2845
rect -2415 1660 -2410 2835
rect -2380 1660 -2375 2835
rect -3105 1570 -2875 1615
rect -3105 1535 -3070 1570
rect -2415 1535 -2375 1660
rect -2005 2835 -1965 2845
rect -2005 1660 -2000 2835
rect -1970 1660 -1965 2835
rect -2005 1650 -1965 1660
rect -1910 2835 -1860 2845
rect -1910 1660 -1900 2835
rect -1870 1660 -1860 2835
rect -1910 1615 -1860 1660
rect -1805 2835 -1710 2845
rect -1805 1660 -1800 2835
rect -1770 2830 -1710 2835
rect -1770 1665 -1750 2830
rect -1720 1665 -1710 2830
rect -1770 1660 -1710 1665
rect -1805 1645 -1710 1660
rect -1910 1570 -1675 1615
rect -1715 1535 -1675 1570
rect -3215 1525 -3165 1535
rect -3215 1495 -3205 1525
rect -3175 1495 -3165 1525
rect -3215 1485 -3165 1495
rect -3105 1525 -3015 1535
rect -3105 1495 -3055 1525
rect -3025 1495 -3015 1525
rect -3105 1485 -3015 1495
rect -2965 1525 -2915 1535
rect -2965 1495 -2955 1525
rect -2925 1520 -2915 1525
rect -2865 1525 -2815 1535
rect -2865 1520 -2855 1525
rect -2925 1495 -2855 1520
rect -2825 1520 -2815 1525
rect -2765 1525 -2715 1535
rect -2765 1520 -2755 1525
rect -2825 1495 -2755 1520
rect -2725 1520 -2715 1525
rect -2665 1525 -2615 1535
rect -2665 1520 -2655 1525
rect -2725 1495 -2655 1520
rect -2625 1520 -2615 1525
rect -2565 1525 -2215 1535
rect -2565 1520 -2555 1525
rect -2625 1495 -2555 1520
rect -2525 1500 -2455 1525
rect -2525 1495 -2515 1500
rect -2965 1485 -2515 1495
rect -2465 1495 -2455 1500
rect -2425 1500 -2355 1525
rect -2425 1495 -2415 1500
rect -2465 1485 -2415 1495
rect -2365 1495 -2355 1500
rect -2325 1500 -2255 1525
rect -2325 1495 -2315 1500
rect -2365 1485 -2315 1495
rect -2265 1495 -2255 1500
rect -2225 1520 -2215 1525
rect -2165 1525 -2115 1535
rect -2165 1520 -2155 1525
rect -2225 1495 -2155 1520
rect -2125 1520 -2115 1525
rect -2065 1525 -2015 1535
rect -2065 1520 -2055 1525
rect -2125 1495 -2055 1520
rect -2025 1520 -2015 1525
rect -1965 1525 -1915 1535
rect -1965 1520 -1955 1525
rect -2025 1495 -1955 1520
rect -1925 1520 -1915 1525
rect -1865 1525 -1815 1535
rect -1865 1520 -1855 1525
rect -1925 1495 -1855 1520
rect -1825 1495 -1815 1525
rect -2265 1485 -1815 1495
rect -1765 1525 -1675 1535
rect -1765 1495 -1755 1525
rect -1725 1495 -1675 1525
rect -1765 1485 -1675 1495
rect -1615 1525 -1565 1535
rect -1615 1495 -1605 1525
rect -1575 1495 -1565 1525
rect -1615 1485 -1565 1495
rect -3205 1465 -3175 1485
rect -3210 1455 -3170 1465
rect -3105 1460 -3070 1485
rect -3210 280 -3205 1455
rect -3175 280 -3170 1455
rect -3210 265 -3170 280
rect -3110 1455 -3070 1460
rect -3110 280 -3105 1455
rect -3075 280 -3070 1455
rect -3110 200 -3070 280
rect -3015 1455 -2965 1465
rect -3015 280 -3005 1455
rect -2975 280 -2965 1455
rect -3015 240 -2965 280
rect -2915 1455 -2865 1485
rect -2915 280 -2905 1455
rect -2875 280 -2865 1455
rect -2915 270 -2865 280
rect -2815 1455 -2765 1485
rect -2815 280 -2805 1455
rect -2775 280 -2765 1455
rect -2815 270 -2765 280
rect -2715 1455 -2665 1485
rect -2715 280 -2705 1455
rect -2675 280 -2665 1455
rect -2715 270 -2665 280
rect -2615 1455 -2565 1485
rect -2615 280 -2605 1455
rect -2575 280 -2565 1455
rect -2615 270 -2565 280
rect -2515 1455 -2465 1465
rect -2515 280 -2505 1455
rect -2475 280 -2465 1455
rect -2515 240 -2465 280
rect -2415 1455 -2365 1465
rect -2415 280 -2405 1455
rect -2375 280 -2365 1455
rect -2415 265 -2365 280
rect -2315 1455 -2265 1465
rect -2315 280 -2305 1455
rect -2275 280 -2265 1455
rect -2315 240 -2265 280
rect -2215 1455 -2165 1485
rect -2215 280 -2205 1455
rect -2175 280 -2165 1455
rect -2215 270 -2165 280
rect -2115 1455 -2065 1485
rect -2115 280 -2105 1455
rect -2075 280 -2065 1455
rect -2115 270 -2065 280
rect -2015 1455 -1965 1485
rect -2015 280 -2005 1455
rect -1975 280 -1965 1455
rect -2015 270 -1965 280
rect -1915 1455 -1865 1485
rect -1715 1470 -1675 1485
rect -1915 280 -1905 1455
rect -1875 280 -1865 1455
rect -1915 270 -1865 280
rect -1815 1455 -1765 1465
rect -1815 280 -1805 1455
rect -1775 280 -1765 1455
rect -1815 240 -1765 280
rect -1715 1455 -1665 1470
rect -1605 1465 -1575 1485
rect -1715 280 -1705 1455
rect -1675 280 -1665 1455
rect -1715 265 -1665 280
rect -1610 1455 -1570 1465
rect -1610 280 -1605 1455
rect -1575 280 -1570 1455
rect -1610 265 -1570 280
rect -3015 200 -1765 240
rect -1710 200 -1670 265
rect -3115 190 -3065 200
rect -3115 160 -3105 190
rect -3075 160 -3065 190
rect -1715 190 -1665 200
rect -1715 160 -1705 190
rect -1675 160 -1665 190
rect -3115 150 -1665 160
rect -3110 120 -1670 150
rect -2955 80 -1755 95
rect -2955 60 -2940 80
rect -1780 60 -1755 80
rect -2955 45 -1755 60
<< viali >>
rect -2980 7005 -1800 7035
rect -3205 5630 -3175 6805
rect -1605 5630 -1575 6805
rect -3010 4250 -2980 5425
rect -2810 4250 -2780 5425
rect -2000 4250 -1970 5425
rect -1800 4250 -1770 5425
rect -3020 3885 -1845 3915
rect -3020 3580 -1845 3610
rect -3020 3140 -1845 3175
rect -3020 1660 -2990 2835
rect -2810 1660 -2780 2835
rect -2000 1660 -1970 2835
rect -1800 1660 -1770 2835
rect -3205 280 -3175 1455
rect -2405 280 -2375 1455
rect -1605 280 -1575 1455
rect -2940 60 -1780 80
<< metal1 >>
rect -3215 7035 -1565 7040
rect -3215 7005 -2980 7035
rect -1800 7005 -1565 7035
rect -3215 6990 -1565 7005
rect -3215 6805 -3165 6990
rect -3215 5630 -3205 6805
rect -3175 5630 -3165 6805
rect -3215 3185 -3165 5630
rect -1615 6805 -1565 6990
rect -1615 5630 -1605 6805
rect -1575 5630 -1565 6805
rect -1615 5615 -1565 5630
rect -3020 5425 -2970 5440
rect -3020 4250 -3010 5425
rect -2980 4250 -2970 5425
rect -3020 3925 -2970 4250
rect -2820 5425 -2770 5440
rect -2820 4250 -2810 5425
rect -2780 4250 -2770 5425
rect -2820 3925 -2770 4250
rect -2010 5425 -1960 5445
rect -2010 4250 -2000 5425
rect -1970 4250 -1960 5425
rect -2010 3925 -1960 4250
rect -1810 5425 -1760 5440
rect -1810 4250 -1800 5425
rect -1770 4290 -1760 5425
rect -1770 4250 -1565 4290
rect -1810 4240 -1565 4250
rect -1615 3925 -1565 4240
rect -3030 3915 -1565 3925
rect -3030 3885 -3020 3915
rect -1845 3885 -1565 3915
rect -3030 3875 -1565 3885
rect -1615 3620 -1565 3875
rect -3030 3610 -1565 3620
rect -3030 3580 -3020 3610
rect -1845 3580 -1565 3610
rect -3030 3570 -1565 3580
rect -3215 3175 -1760 3185
rect -3215 3140 -3020 3175
rect -1845 3140 -1760 3175
rect -3215 3130 -1760 3140
rect -3215 2845 -3165 3130
rect -3215 2835 -2980 2845
rect -3215 2795 -3020 2835
rect -3030 1660 -3020 2795
rect -2990 1660 -2980 2835
rect -3030 1645 -2980 1660
rect -2820 2835 -2770 3130
rect -2820 1660 -2810 2835
rect -2780 1660 -2770 2835
rect -2820 1645 -2770 1660
rect -2010 2835 -1960 3130
rect -2010 1660 -2000 2835
rect -1970 1660 -1960 2835
rect -2010 1650 -1960 1660
rect -1810 2835 -1760 3130
rect -1810 1660 -1800 2835
rect -1770 1660 -1760 2835
rect -1810 1645 -1760 1660
rect -3215 1455 -3165 1470
rect -3215 280 -3205 1455
rect -3175 280 -3165 1455
rect -3215 105 -3165 280
rect -2415 1455 -2365 1470
rect -2415 280 -2405 1455
rect -2375 280 -2365 1455
rect -2415 105 -2365 280
rect -1615 1455 -1565 3570
rect -1615 280 -1605 1455
rect -1575 280 -1565 1455
rect -1615 105 -1565 280
rect -3215 80 -1565 105
rect -3215 60 -2940 80
rect -1780 60 -1565 80
rect -3215 55 -1565 60
<< labels >>
rlabel metal1 -3215 7015 -3215 7015 1 VP
port 1 n
rlabel locali -3110 6955 -3110 6955 1 Vcp
port 2 n
rlabel poly -2870 4200 -2870 4200 1 Vbn
port 3 n
rlabel poly -2585 2890 -2585 2890 1 Vbp
port 4 n
rlabel locali -3115 175 -3115 175 1 Vcn
port 5 n
rlabel metal1 -3215 115 -3215 115 1 VN
port 6 n
rlabel poly -1760 3750 -1760 3750 1 Vbn
<< end >>

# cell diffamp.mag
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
